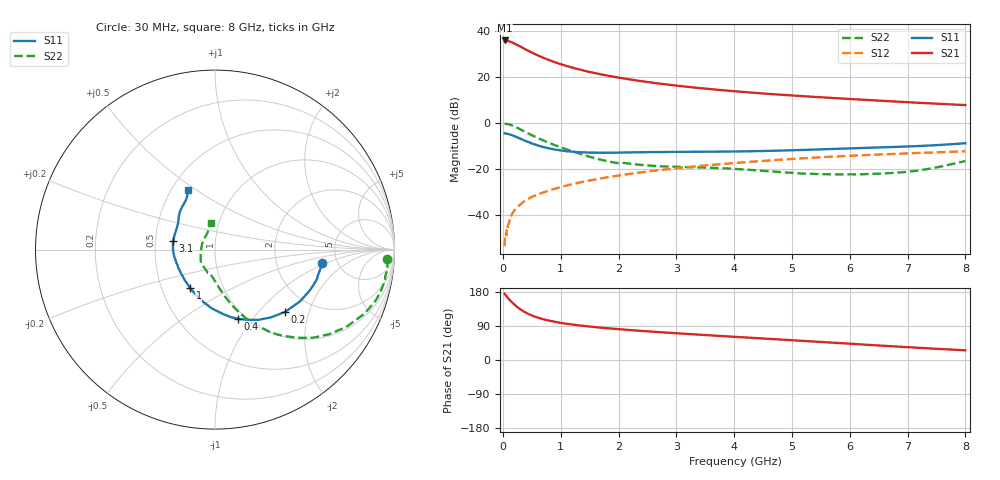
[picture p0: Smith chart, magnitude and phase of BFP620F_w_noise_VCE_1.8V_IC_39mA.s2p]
! Infineon Technologies  Discrete & RF Semiconductors
! BFP620F
! VCE =  1.8 V,  IC =  39 mA
! Common Emitter S-Parameters:  Dec 2014
# GHz  S  MA  R  50
!  f  S11  S21  S12  S22
! GHz  MAG  ANG  MAG  ANG  MAG  ANG  MAG  ANG
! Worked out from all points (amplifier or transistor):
!   95 points, 30 MHz to 8 GHz, reference 50 ohm
!   highest |S21| = 36.0 dB at 30 MHz (marker M1)
!   |S21| within 3 dB of that: start of sweep to 327.3 MHz
!   unconditionally stable (mu >= 1): 2.206 GHz to end of sweep
!   at 300 MHz: K = 0.43, MSG = 34.4 dB, |S12| = -35.4 dB
!   at 3.3 GHz: K = 1.03, MAG = 16.2 dB, |S12| = -18.9 dB
!   at 8 GHz: K = 1.05, MAG = 8.6 dB, |S12| = -12.3 dB
!   lowest NFmin = 1.34 dB at 450 MHz
!   S11 on the Smith chart (normalised r, x): 30 MHz: 3.77, -0.87; 200 MHz: 1.47, -1.41; 400 MHz: 0.92, -0.85; 1 GHz: 0.70, -0.32; 3.1 GHz: 0.62, +0.06; 8 GHz: 0.60, +0.46
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0.03  0.5986 -7.1  63.09 174.7  0.0021 78.0  0.9602 -3.1
0.07  0.5917 -15.9  62.35 167.2  0.0053 87.9  0.9625 -10.4
0.11  0.5721 -24.4  60.23 159.9  0.0069 79.0  0.94 -17.4
0.15  0.5506 -32.4  57.76 153.5  0.0101 77.3  0.9023 -23.6
0.2  0.5218 -41.8  54.02 146.1  0.0127 75.6  0.8483 -30.6
0.25  0.4903 -50.3  50.31 139.6  0.0148 72.0  0.791 -36.6
0.3  0.4613 -58.0  46.64 133.9  0.0169 71.5  0.7348 -41.9
0.35  0.4315 -65.1  43.09 129.0  0.0192 69.5  0.6801 -46.3
0.4  0.4058 -71.8  39.95 124.6  0.0209 68.1  0.6301 -50.2
0.5  0.3621 -82.8  34.42 117.6  0.0248 67.0  0.5469 -56.6
0.6  0.3282 -93.0  30 112.0  0.0278 66.3  0.4757 -61.6
0.7  0.3019 -101.5  26.45 107.5  0.031 66.2  0.4194 -65.8
0.8  0.2825 -109.4  23.55 103.9  0.0343 66.6  0.3718 -69.2
1  0.2553 -123.1  19.24 98.0  0.0406 66.7  0.2987 -75.0
1.4  0.2318 -144.5  13.95 89.9  0.0533 66.3  0.2033 -85.3
2  0.2282 -166.9  9.816 81.4  0.0722 64.5  0.1346 -103.3
2.7  0.2351 176.2  7.289 73.6  0.0946 61.0  0.1157 -122.0
3.1  0.2376 168.6  6.358 69.7  0.1072 59.0  0.1111 -129.4
4.1  0.2427 153.0  4.84 60.3  0.1384 53.1  0.0994 -142.9
5.4  0.2664 139.5  3.723 48.5  0.1779 44.4  0.0785 -173.5
6.7  0.3013 127.1  2.996 36.5  0.2124 35.0  0.082 142.7
8  0.3658 114.3  2.476 25.4  0.244 25.8  0.1495 98.4
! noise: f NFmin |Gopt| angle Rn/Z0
0.45  1.34  0.14  -173  0.16
0.9  1.36  0.14  -172  0.13
1.5  1.37  0.19  -151  0.11
1.8  1.38  0.19  -151  0.12
1.9  1.39  0.19  -150  0.12
2.4  1.41  0.2  214  0.14
3.5  1.47  0.2  220  0.17
5.5  1.61  0.26  246  0.16
6  1.65  0.27  261  0.2
